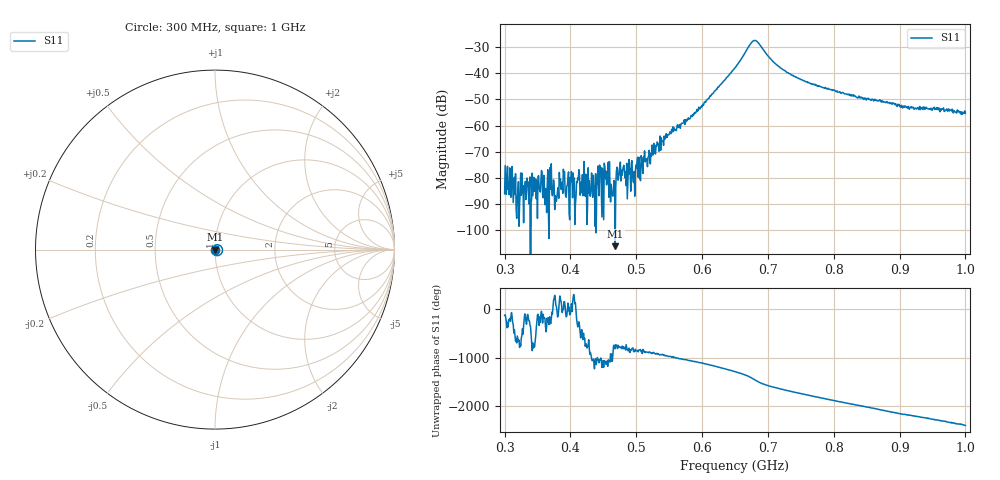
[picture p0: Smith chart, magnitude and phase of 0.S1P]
! C:\Users\rflab\Downloads\q2\0.S1P
! Touchstone 1.1 file saved by VNA.EXE V1.65 (www.ke5fx.com/gpib/readme.htm)
! 11/20/2024 11:05:42 AM
!  Source: HEWLETT PACKARD,8753D,0,6.14
!  Min freq: 3.000000E+008 Hz
!  Max freq: 1.000000E+009 Hz
!  Points: 801
!  Params: S21
# GHZ S MA R 50
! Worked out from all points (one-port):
!   801 points, 300 MHz to 1 GHz, reference 50 ohm
!   lowest |S11| = -106.0 dB at 468 MHz (marker M1), VSWR 1.00, Z = 50 - j0.000498 ohm
!   |S11| at or under -10 dB: start of sweep to end of sweep
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0.3  5e-05 -124.0
0.307875  0.000156 172.3
0.31575  4.9e-05 167.7
0.330625  6e-05 -95.1
0.3875  8.3e-05 -67.3
0.437375  1.2e-05 29.8
0.447875  1.8e-05 -120.9
0.45575  0.000103 13.5
0.463625  4.8e-05 8.2
0.468  5e-06 -95.5
0.475  0.000171 -55.6
0.491625  5.6e-05 -111.1
0.495125  8.7e-05 -79.9
0.50125  0.000212 -137.7
0.5065  8.9e-05 -111.0
0.510875  0.000252 -123.1
0.519625  0.000339 -161.3
0.530125  0.000425 168.4
0.5625  0.001038 75.4
0.59925  0.002376 -27.9
0.65  0.01271 152.3
0.673625  0.0366 34.4
0.680625  0.0424 -21.3
0.71125  0.01525 -178.8
0.7375  0.009047 97.2
0.825  0.003754 -152.1
0.9125  0.002148 -22.6
1  0.001719 121.0
